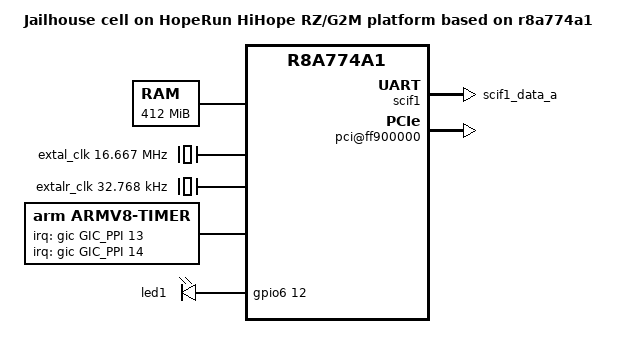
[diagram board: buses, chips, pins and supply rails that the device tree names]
/*
 * Jailhouse, a Linux-based partitioning hypervisor
 *
 * Device tree for Linux inmate test on HopeRun HiHope RZ/G2M
 * platform based on R8A774A1/R8A774A3, corresponds to
 * configs/arm64/renesas-r8a774a1-linux-demo.c
 *
 * Copyright (c) 2023, Renesas Electronics Corporation
 *
 * Authors:
 *  Lad Prabhakar <prabhakar.mahadev-lad.rj@bp.renesas.com>
 *
 * This work is licensed under the terms of the GNU GPL, version 2.  See
 * the COPYING file in the top-level directory.
 */

#include <dt-bindings/interrupt-controller/arm-gic.h>

/dts-v1/;

/ {
	model = "Jailhouse cell on HopeRun HiHope RZ/G2M platform based on r8a774a1";
	compatible = "hoperun,hihope-rzg2m", "renesas,r8a774a1";

	#address-cells = <2>;
	#size-cells = <2>;

	aliases {
		serial0 = &scif1;
	};

	chosen {
		bootargs = "ignore_loglevel";
		stdout-path = "serial0:115200n8";
	};

	hypervisor {
		compatible = "jailhouse,cell";
		interrupt-parent = <&gic>;
	};

	memory@8f400000 {
		device_type = "memory";
		reg = <0x0 0x8f400000 0x0 0x19c00000>;
	};

	extal_clk: extal {
		compatible = "fixed-clock";
		#clock-cells = <0>;
		clock-frequency = <16666666>;
	};

	extalr_clk: extalr {
		compatible = "fixed-clock";
		#clock-cells = <0>;
		clock-frequency = <32768>;
	};

	scif_clk: scif {
		compatible = "fixed-clock";
		#clock-cells = <0>;
		clock-frequency = <14745600>;
	};

	cpus {
		#address-cells = <1>;
		#size-cells = <0>;

		a53_0: cpu@100 {
			compatible = "arm,cortex-a53";
			reg = <0x100>;
			device_type = "cpu";
			next-level-cache = <&L2_CA53>;
			enable-method = "psci";
			#cooling-cells = <2>;
			dynamic-power-coefficient = <277>;
			capacity-dmips-mhz = <560>;
		};

		a53_1: cpu@101 {
			compatible = "arm,cortex-a53";
			reg = <0x101>;
			device_type = "cpu";
			next-level-cache = <&L2_CA53>;
			enable-method = "psci";
			capacity-dmips-mhz = <560>;
		};

		a53_2: cpu@102 {
			compatible = "arm,cortex-a53";
			reg = <0x102>;
			device_type = "cpu";
			next-level-cache = <&L2_CA53>;
			enable-method = "psci";
			capacity-dmips-mhz = <560>;
		};

		a53_3: cpu@103 {
			compatible = "arm,cortex-a53";
			reg = <0x103>;
			device_type = "cpu";
			next-level-cache = <&L2_CA53>;
			enable-method = "psci";
			capacity-dmips-mhz = <560>;
		};

		L2_CA53: cache-controller-1 {
			compatible = "cache";
			cache-unified;
			cache-level = <2>;
		};
	};

	psci {
		compatible = "arm,psci-1.0", "arm,psci-0.2";
		method = "smc";
	};

	clocks {
		scif1_clk: scif1_clk {
			compatible = "fixed-clock";
			#clock-cells = <1>;
			clock-frequency  = <66666664>;
			clock-output-names = "scif1_clk";
		};

		s3d1_clk: s3d1_clk {
			compatible = "fixed-clock";
			#clock-cells = <1>;
			clock-frequency  = <266666656>;
			clock-output-names = "s3d1_clk";
		};

		sdif3_clk: sdif3_clk {
			compatible = "fixed-clock";
			#clock-cells = <1>;
			clock-frequency  = <199999992>;
			clock-output-names = "sdif3_clk";
		};

		intacp_clk: intacp_clk {
			compatible = "fixed-clock";
			#clock-cells = <1>;
			clock-frequency  = <266666656>;
			clock-output-names = "intacp_clk";
		};
	};

	soc {
		compatible = "simple-bus";
		interrupt-parent = <&gic>;
		#address-cells = <2>;
		#size-cells = <2>;
		ranges;

		gpio6: gpio@e6055400 {
			compatible = "renesas,gpio-r8a774a1",
				     "renesas,rcar-gen3-gpio";
			reg = <0 0xe6055400 0 0x50>;
			interrupts = <GIC_SPI 10 IRQ_TYPE_LEVEL_HIGH>;
			#gpio-cells = <2>;
			gpio-controller;
			gpio-ranges = <&pfc 0 192 32>;
			#interrupt-cells = <2>;
			interrupt-controller;
		};

		pfc: pinctrl@e6060000 {
			compatible = "renesas,pfc-r8a774a1";
			reg = <0 0xe6060000 0 0x50c>;

			scif1_pins: scif1 {
				groups = "scif1_data_a";
				function = "scif1";
			};
		};

		scif1: serial@e6e68000 {
			compatible = "renesas,scif-r8a774a1",
				      "renesas,rcar-gen3-scif", "renesas,scif";
			reg = <0 0xe6e68000 0 0x40>;
			interrupts = <0 153 IRQ_TYPE_LEVEL_HIGH>;
			clocks = <&scif1_clk 0>,
				 <&s3d1_clk 0 >,
				 <&scif_clk 0>;
			clock-names = "fck", "brg_int", "scif_clk";
			pinctrl-0 = <&scif1_pins>;
			pinctrl-names = "default";
		};

		gic: interrupt-controller@f1010000 {
			compatible = "arm,gic-400";
			#interrupt-cells = <3>;
			#address-cells = <0>;
			interrupt-controller;
			reg = <0x0 0xf1010000 0 0x1000>,
			      <0x0 0xf102f000 0 0x20000>,
			      <0x0 0xf1040000 0 0x20000>,
			      <0x0 0xf106f000 0 0x20000>;
			interrupts = <GIC_PPI 9
					(GIC_CPU_MASK_SIMPLE(4) | IRQ_TYPE_LEVEL_HIGH)>;
			clocks = <&intacp_clk 0>;
			clock-names = "clk";
		};

		prr: chipid@fff00044 {
			compatible = "renesas,prr";
			reg = <0 0xfff00044 0 4>;
		};

		pci@ff900000 {
			compatible = "pci-host-ecam-generic";
			device_type = "pci";
			bus-range = <0 0>;
			#address-cells = <3>;
			#size-cells = <2>;
			#interrupt-cells = <1>;
			interrupt-map-mask = <0 0 0 7>;
			interrupt-map = <0 0 0 1 &gic GIC_SPI 24 IRQ_TYPE_EDGE_RISING>,
					<0 0 0 2 &gic GIC_SPI 25 IRQ_TYPE_EDGE_RISING>,
					<0 0 0 3 &gic GIC_SPI 26 IRQ_TYPE_EDGE_RISING>,
					<0 0 0 4 &gic GIC_SPI 27 IRQ_TYPE_EDGE_RISING>;
			reg = <0x0 0xff900000 0x0 0x100000>;
			ranges = <0x02000000 0x00 0x10000000 0x0 0x10000000 0x00 0x100000>;
		};
	};

	timer {
		compatible = "arm,armv8-timer";
		interrupts-extended = <&gic GIC_PPI 13 (GIC_CPU_MASK_SIMPLE(4) | IRQ_TYPE_LEVEL_LOW)>,
				      <&gic GIC_PPI 14 (GIC_CPU_MASK_SIMPLE(4) | IRQ_TYPE_LEVEL_LOW)>,
				      <&gic GIC_PPI 11 (GIC_CPU_MASK_SIMPLE(4) | IRQ_TYPE_LEVEL_LOW)>,
				      <&gic GIC_PPI 10 (GIC_CPU_MASK_SIMPLE(4) | IRQ_TYPE_LEVEL_LOW)>;
	};

	leds {
		compatible = "gpio-leds";

		led1 {
			gpios = <&gpio6 12 0>;
			default-state = "on";
		};
	};
};
